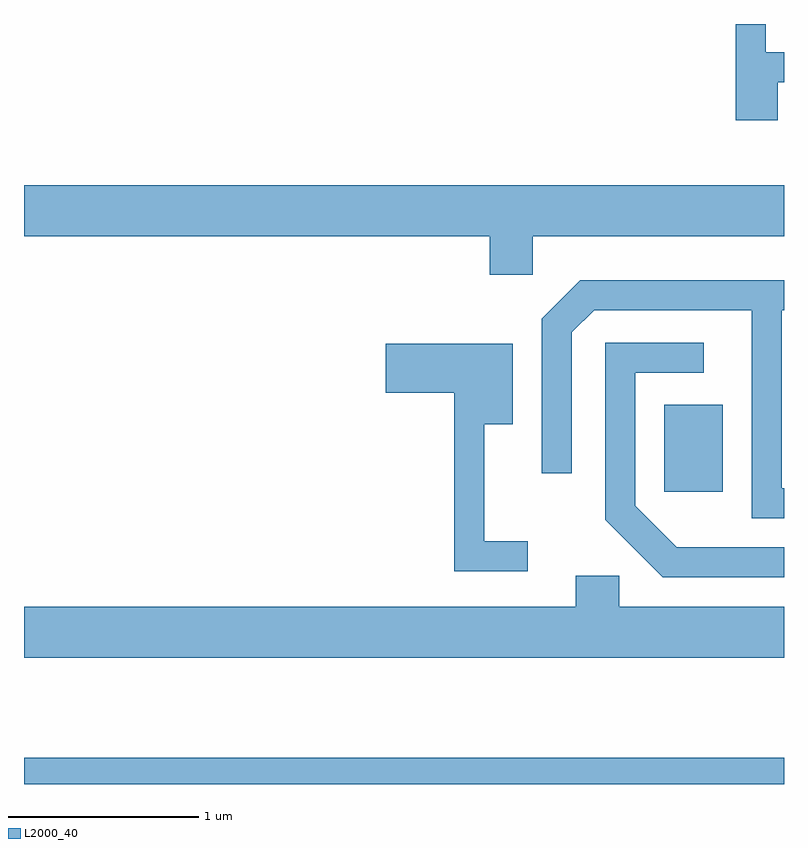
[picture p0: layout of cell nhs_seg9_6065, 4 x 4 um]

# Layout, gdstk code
import gdstk
lib = gdstk.Library(unit=1e-6, precision=1e-09)
def R(c, l, rs):  # rectangles x0, y0, x1, y1
    for r in rs: c.add(gdstk.rectangle(r[:2], r[2:], *l))
def P(c, l, *ps):  # polygons
    for p in ps: c.add(gdstk.Polygon(p, *l))
L2000_40 = (2000, 40)

nhs_seg9_6065 = lib.new_cell('nhs_seg9_6065')
R(nhs_seg9_6065, L2000_40, [(363.611,2044.432,367.611,2044.569), (366.981,2045.971,367.289,2046.429)])
P(nhs_seg9_6065, L2000_40, [(367.579,2048.126),(367.611,2048.126),(367.611,2048.284),(367.514,2048.284),(367.514,2048.432),(367.356,2048.432),(367.356,2047.926),(367.579,2047.926)],
  [(366.289,2047.316),(367.611,2047.316),(367.611,2047.584),(363.611,2047.584),(363.611,2047.316),(366.061,2047.316),(366.061,2047.111),(366.289,2047.111)],
  [(367.611,2045.989),(367.599,2045.989),(367.599,2046.926),(367.611,2046.926),(367.611,2047.084),(366.539,2047.084),(366.336,2046.882),(366.336,2046.068),(366.494,2046.068),(366.494,2046.809),(366.612,2046.926),(367.441,2046.926),(367.441,2045.831),(367.611,2045.831)],
  [(367.611,2045.679),(367.047,2045.679),(366.829,2045.897),(366.829,2046.596),(367.188,2046.596),(367.188,2046.754),(366.671,2046.754),(366.671,2045.824),(366.974,2045.521),(367.611,2045.521)],
  [(366.263,2045.709),(366.034,2045.709),(366.034,2046.326),(366.184,2046.326),(366.184,2046.749),(365.516,2046.749),(365.516,2046.491),(365.876,2046.491),(365.876,2045.551),(366.263,2045.551)],
  [(367.611,2045.364),(366.744,2045.364),(366.744,2045.529),(366.516,2045.529),(366.516,2045.364),(363.611,2045.364),(363.611,2045.096),(367.611,2045.096)])

lib.write_gds('nhs_seg9_6065.gds')
